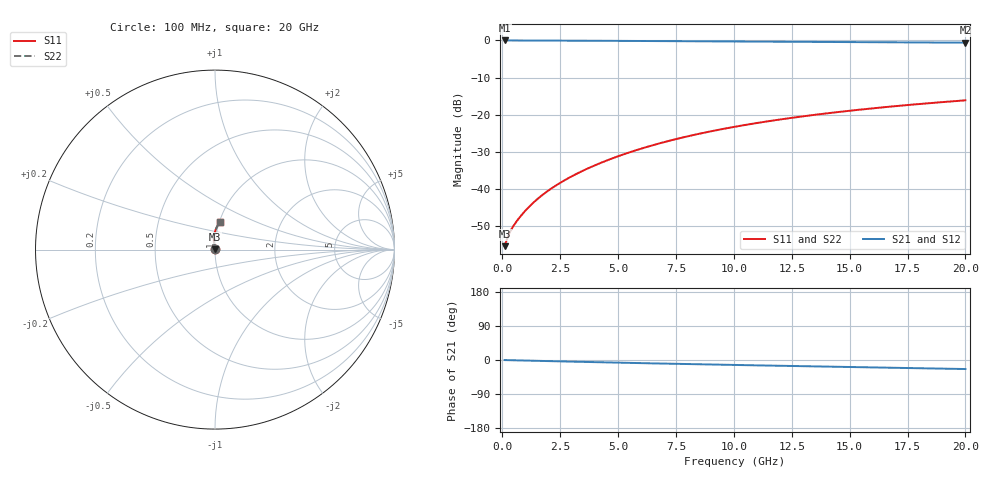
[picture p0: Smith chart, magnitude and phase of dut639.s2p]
! Touchstone file exported from HFSS 2024.1.0
!  File:  C:/UserFiles/LocalFiles/RDL_TSV_Batchsim/temp_RDL_bottom_639_1779784826.aedt
!  Generated:  04:42:40 PM May 26, 2026
!  Design:  RDL_bottom
!  Project:  temp_RDL_bottom_639_1779784826
!  Setup:  Setup1
!  Solution:  Sweep
! Variables:
!  dtsv = 10.80580581um
!  hbump = 3um
!  htsv = 81.24um
!  ldown = 390.29um
!  lrdl = 100um
!  p = 40
!  p1 = 41.44um
!  rhole = 1um
!  t = 450um
!  tdown = 3.7um
!  trdl = 3.915915916um
!  wdown = 28.74um
!  wrdl = 20um
# GHz S MA R 50.000000
! Terminal data exported
! Port[1] = RDL1_T1
! Port[2] = RDL1_T2
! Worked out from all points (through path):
!   200 points, 100 MHz to 20 GHz, reference 50 ohm
!   highest |S21| = -0.01 dB at 100 MHz (marker M1); lowest = -0.6 dB at 20 GHz (marker M2)
!   group delay of S21, straight-line fit = 3.25 ps
!   lowest |S11| = -55.3 dB at 100 MHz (marker M3), VSWR 1.00, Z = 50.2 + j0.068 ohm
!   |S11| at or under -10 dB: start of sweep to end of sweep
!   |S22| runs from -55.3 to -16.1 dB; largest |S21 - S12| = 2.4e-15
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0.1  0.001709 23.4  0.9984 -0.2  0.9984 -0.2  0.001709 23.4
! Gamma 0 0 0 0
! Port Impedance 50 0 50 0
0.2  0.002123 36.2  0.9982 -0.3  0.9982 -0.3  0.002123 36.2
0.3  0.002531 43.4  0.9981 -0.5  0.9981 -0.5  0.002531 43.4
0.4  0.002906 48.6  0.9979 -0.6  0.9979 -0.6  0.002906 48.6
0.5  0.003266 53.0  0.9978 -0.8  0.9978 -0.8  0.003266 53.0
0.7  0.00399 60.5  0.9975 -1.0  0.9975 -1.0  0.00399 60.5
0.9  0.004752 66.3  0.9973 -1.3  0.9973 -1.3  0.004752 66.4
1.3  0.0064 74.9  0.9967 -1.9  0.9967 -1.9  0.0064 74.9
1.8  0.008659 81.9  0.9958 -2.6  0.9958 -2.6  0.008659 82.0
2.3  0.01111 86.8  0.9947 -3.3  0.9947 -3.3  0.01111 86.8
2.9  0.01432 90.8  0.993 -4.2  0.993 -4.2  0.01432 90.8
3.5  0.0178 93.6  0.991 -5.0  0.991 -5.0  0.0178 93.7
4.2  0.0222 95.9  0.9885 -6.0  0.9885 -6.0  0.0222 95.9
5  0.02766 97.4  0.9853 -7.0  0.9853 -7.0  0.02766 97.4
5.9  0.03429 98.1  0.9816 -8.2  0.9816 -8.2  0.03429 98.1
6.8  0.04134 98.2  0.9777 -9.3  0.9777 -9.3  0.04135 98.2
8.4  0.05466 97.1  0.971 -11.2  0.971 -11.2  0.05468 97.1
10.1  0.0695 95.1  0.9642 -13.1  0.9642 -13.1  0.06952 95.1
11.7  0.08377 92.8  0.9582 -14.9  0.9582 -14.9  0.0838 92.8
13.4  0.09899 90.2  0.9523 -16.8  0.9523 -16.8  0.09903 90.2
16.7  0.1282 85.1  0.9418 -20.3  0.9418 -20.3  0.1282 85.1
20  0.1564 80.1  0.9322 -23.8  0.9322 -23.8  0.1564 80.1
